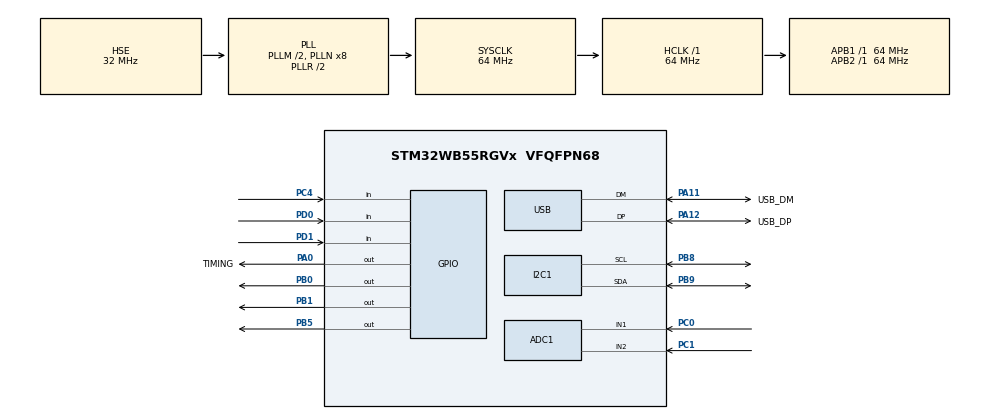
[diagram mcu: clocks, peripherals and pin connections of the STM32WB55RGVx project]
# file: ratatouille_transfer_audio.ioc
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ADC1.Channel-0\#ChannelRegularConversion=ADC_CHANNEL_1
ADC1.Channel-1\#ChannelRegularConversion=ADC_CHANNEL_2
ADC1.ClockPrescaler=ADC_CLOCK_SYNC_PCLK_DIV1
ADC1.ContinuousConvMode=ENABLE
ADC1.DMAContinuousRequests=ENABLE
ADC1.NbrOfConversion=2
ADC1.NbrOfConversionFlag=1
ADC1.OffsetNumber-0\#ChannelRegularConversion=ADC_OFFSET_NONE
ADC1.OffsetNumber-1\#ChannelRegularConversion=ADC_OFFSET_NONE
ADC1.Rank-0\#ChannelRegularConversion=1
ADC1.Rank-1\#ChannelRegularConversion=2
ADC1.SamplingTime-0\#ChannelRegularConversion=ADC_SAMPLETIME_247CYCLES_5
ADC1.SamplingTime-1\#ChannelRegularConversion=ADC_SAMPLETIME_247CYCLES_5
ADC1.master=1
Dma.ADC1.0.Direction=DMA_PERIPH_TO_MEMORY
Dma.ADC1.0.EventEnable=DISABLE
Dma.ADC1.0.Instance=DMA1_Channel1
Dma.ADC1.0.MemDataAlignment=DMA_MDATAALIGN_HALFWORD
Dma.ADC1.0.MemInc=DMA_MINC_ENABLE
Dma.ADC1.0.Mode=DMA_CIRCULAR
Dma.ADC1.0.PeriphDataAlignment=DMA_PDATAALIGN_HALFWORD
Dma.ADC1.0.PeriphInc=DMA_PINC_DISABLE
Dma.ADC1.0.Polarity=HAL_DMAMUX_REQ_GEN_RISING
Dma.ADC1.0.Priority=DMA_PRIORITY_LOW
Dma.ADC1.0.RequestNumber=1
Dma.ADC1.0.SignalID=NONE
Dma.ADC1.0.SyncEnable=DISABLE
Dma.ADC1.0.SyncPolarity=HAL_DMAMUX_SYNC_NO_EVENT
Dma.ADC1.0.SyncRequestNumber=1
Dma.ADC1.0.SyncSignalID=NONE
Dma.Request0=ADC1
I2C1.Timing=0x10B17DB5
Mcu.Family=STM32WB
Mcu.Name=STM32WB55RGVx
Mcu.Package=VFQFPN68
NUCLEO-WB55RG.BUTTON=1
NUCLEO-WB55RG.BUTTON2=1
NUCLEO-WB55RG.BUTTON3=1
NUCLEO-WB55RG.LD1=true
NUCLEO-WB55RG.LD2=true
NUCLEO-WB55RG.LD3=true
NUCLEO-WB55RG.VCP=true
NVIC.ADC1_IRQn=true\:2\:0\:true\:false\:true\:true\:true\:true
NVIC.DMA1_Channel1_IRQn=true\:0\:0\:false\:false\:true\:false\:true\:true
NVIC.EXTI0_IRQn=true\:3\:0\:true\:false\:true\:false\:true\:true
NVIC.EXTI1_IRQn=true\:3\:0\:true\:false\:true\:false\:true\:true
NVIC.EXTI4_IRQn=true\:3\:0\:true\:false\:true\:false\:true\:true
NVIC.I2C1_ER_IRQn=true\:0\:0\:false\:false\:true\:true\:true\:true
NVIC.I2C1_EV_IRQn=true\:0\:0\:false\:false\:true\:true\:true\:true
NVIC.PriorityGroup=NVIC_PRIORITYGROUP_4
NVIC.TIM2_IRQn=true\:0\:0\:false\:false\:true\:true\:true\:true
NVIC.USB_HP_IRQn=true\:0\:0\:false\:false\:true\:true\:true\:true
NVIC.USB_LP_IRQn=true\:0\:0\:false\:false\:true\:true\:true\:true
OSC_IN.GPIO_Label=RCC_OSC_IN
OSC_IN.Mode=HSE-External-Oscillator
OSC_IN.Signal=RCC_OSC_IN
OSC_OUT.GPIO_Label=RCC_OSC_OUT
OSC_OUT.Mode=HSE-External-Oscillator
OSC_OUT.Signal=RCC_OSC_OUT
PA0.GPIO_Label=TIMING
PA0.GPIO_Speed=GPIO_SPEED_FREQ_MEDIUM
PA0.Signal=GPIO_Output
PA11.GPIO_Label=USB_DM
PA11.Mode=Device
PA11.Signal=USB_DM
PA12.GPIO_Label=USB_DP
PA12.Mode=Device
PA12.Signal=USB_DP
PA13.GPIO_Label=JTMS
PA13.Signal=SYS_JTMS-SWDIO
PA14.GPIO_Label=JTCK
PA14.Signal=SYS_JTCK-SWCLK
PB0.Signal=GPIO_Output
PB1.Signal=GPIO_Output
PB3.GPIO_Label=JTDO
PB3.Signal=SYS_JTDO-SWO
PB5.Signal=GPIO_Output
PB6.Signal=USART1_TX
PB7.Signal=USART1_RX
PB8.Mode=I2C
PB8.Signal=I2C1_SCL
PB9.Mode=I2C
PB9.Signal=I2C1_SDA
PC0.Signal=ADCx_IN1
PC1.Signal=ADCx_IN2
PC13.GPIO_Label=SYS_WKUP2
PC13.Signal=SYS_WKUP2
PC14-OSC32_IN.GPIO_Label=RCC_OSC32_IN
PC14-OSC32_IN.Mode=LSE-External-Oscillator
PC14-OSC32_IN.Signal=RCC_OSC32_IN
PC15-OSC32_OUT.GPIO_Label=RCC_OSC32_OUT
PC15-OSC32_OUT.Mode=LSE-External-Oscillator
PC15-OSC32_OUT.Signal=RCC_OSC32_OUT
PC4.Signal=GPIO_Input
PD0.Signal=GPIO_Input
PD1.Signal=GPIO_Input
ProjectManager.HeapSize=0x200
ProjectManager.StackSize=0x400
ProjectManager.TargetToolchain=STM32CubeIDE
RCC.ADCFreq_Value=48000000
RCC.AHB2CLKDivider=RCC_SYSCLK_DIV2
RCC.AHBFreq_Value=64000000
RCC.APB1Freq_Value=64000000
RCC.APB1TimFreq_Value=64000000
RCC.APB2Freq_Value=64000000
RCC.APB2TimFreq_Value=64000000
RCC.APB3Freq_Value=16000000
RCC.Cortex2_Div=SYSTICK_CLKSOURCE_HCLK_DIV8
RCC.CortexFreq_Value=64000000
RCC.HCLKFreq_Value=64000000
RCC.HSE_VALUE=32000000
RCC.HSI48_VALUE=48000000
RCC.HSI_VALUE=16000000
RCC.PLLM=RCC_PLLM_DIV2
RCC.PLLSAI1N=6
RCC.PLLSourceVirtual=RCC_PLLSOURCE_HSE
RCC.SMPSCLockSelection=RCC_SMPSCLKSOURCE_HSI
RCC.SMPSCLockSelectionVirtual=RCC_SMPSCLKSOURCE_HSI
RCC.SMPSCLockSelectionVirtualVirtual=RCC_SMPSCLKSOURCE_HSI
RCC.SMPSDivider=1
RCC.SYSCLKFreq_VALUE=64000000
RCC.SYSCLKSource=RCC_SYSCLKSOURCE_PLLCLK
RCC.USBFreq_Value=48000000
RCC.VCOOutputFreq_Value=128000000
SH.ADCx_IN1.0=ADC1_IN1,IN1-Single-Ended
SH.ADCx_IN2.0=ADC1_IN2,IN2-Single-Ended
TIM2.AutoReloadPreload=TIM_AUTORELOAD_PRELOAD_ENABLE
TIM2.CounterMode=TIM_COUNTERMODE_UP
TIM2.Period=256000-1
TIM2.Prescaler=10
TIM2.TIM_MasterOutputTrigger=TIM_TRGO_UPDATE
USB_DEVICE.CLASS_NAME_FS=CDC
USB_DEVICE.USBD_DEBUG_LEVEL=2
USB_DEVICE.VirtualMode=Cdc
USB_DEVICE.VirtualModeFS=Cdc_FS
VP_MEMORYMAP_VS_MEMORYMAP.Mode=CurAppReg
VP_NUCLEO-WB55RG_VS_BSP_COMMON.Mode=COMMON
VP_TIM2_VS_ClockSourceINT.Mode=Internal
VP_USB_DEVICE_VS_USB_DEVICE_CDC_FS.Mode=CDC_FS
board=NUCLEO-WB55RG

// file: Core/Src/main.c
/* USER CODE BEGIN Header */
/**
  ******************************************************************************
  * @file           : main.c
  * @brief          : Main program body
  ******************************************************************************
  * @attention
  *
  * Copyright (c) 2024 STMicroelectronics.
  * All rights reserved.
  *
  * This software is licensed under terms that can be found in the LICENSE file
  * in the root directory of this software component.
  * If no LICENSE file comes with this software, it is provided AS-IS.
  *
  ******************************************************************************
  */
/* USER CODE END Header */
#include "main.h"
#include "usb_device.h"

/* USER CODE BEGIN Includes */
#include <stdio.h>
#include <stdint.h>
#include <string.h>
#include "usbd_cdc_if.h"
#include "bmi160_wrapper.h"
/* USER CODE END Includes */

/* USER CODE BEGIN PTD */
BMI160_t imu_t;
/* USER CODE END PTD */

COM_InitTypeDef BspCOMInit;
ADC_HandleTypeDef hadc1;
DMA_HandleTypeDef hdma_adc1;

I2C_HandleTypeDef hi2c1;

TIM_HandleTypeDef htim2;

/* USER CODE BEGIN PV */

/* Analog */
uint16_t counter = 0;
uint16_t mic = 0;
uint16_t mic2 = 0;
uint16_t rawValues[2];
/* Analog END */

/* USB */
uint8_t message[] = "USB VCP Test\n";
uint8_t flag = 0;
char msg[50];

uint16_t a = 7;
uint16_t b = 9;
uint8_t USB_buffer[32];
size_t packet_length;
/* USB END */

/* Mouse */
int delay = 5;
int8_t x = 0;
int8_t y = 0;
/* Mouse END */

/* IMU */
float g_f32[3] = {0.0f, 0.0f, 0.0f};
float a_f32[3] = {0.0f, 0.0f, 0.0f};
float g = 9.81f;
/* IMU END */
/* USER CODE END PV */

void SystemClock_Config(void);
void PeriphCommonClock_Config(void);
static void MX_GPIO_Init(void);
static void MX_DMA_Init(void);
static void MX_ADC1_Init(void);
static void MX_TIM2_Init(void);
static void MX_I2C1_Init(void);
/* USER CODE BEGIN PFP */
void prepare_data_packet_both(float g_f32[3], float a_f32[3], uint16_t var1, uint16_t var2, uint8_t *buffer, size_t *length);
void prepare_data_packet_IMU(float g_f32[3], float a_f32[3], uint8_t *buffer, size_t *length);
void prepare_data_packet_audio(uint16_t var1, uint16_t var2, uint8_t *buffer, size_t *length);

/*unused/legacy */
void send_packet_joystick(int8_t x, int8_t y);
void move_square(int delay);
/* USER CODE END PFP */

/* USER CODE BEGIN 0 */
void HAL_TIM_PeriodElapsedCallback(TIM_HandleTypeDef *htim2)
  {
	////this updates the X and Y axes of my joystick
	  for(uint8_t i = 0; i<hadc1.Init.NbrOfConversion; i++){
		  mic = (uint16_t) rawValues[0];
		  mic2 = mic;
	  }
	  flag = 1;
	 ////This allows me to write to the serial monitor similar to the serial monitor on Arduino
	 ////Note STM32CUBEIDE does not have a serial monitor. You will need to download PuTTY to view
	 ////your serial output.
	  /*HAL_GPIO_TogglePin(LED_GREEN_GPIO_Port,LED_GREEN_Pin);
	  sprintf(msg, "X axis: %hu, Y axis: %hu \r\n", Xaxis, Yaxis);
	  status = CDC_Transmit_FS(msg, strlen((char*)msg));
	  if (status == USBD_OK) {
	  	  HAL_GPIO_TogglePin(LED_RED_GPIO_Port,LED_RED_Pin); // Example: Toggle LED on success
	  }*/
  }
/* USER CODE END 0 */

int main(void)
{

  /* MCU Configuration--------------------------------------------------------*/

  /* Reset of all peripherals, Initializes the Flash interface and the Systick. */
  HAL_Init();

  /* Configure the system clock */
  SystemClock_Config();

  /* Configure the peripherals common clocks */
  PeriphCommonClock_Config();

  /* Initialize all configured peripherals */
  MX_GPIO_Init();
  MX_DMA_Init();
  MX_ADC1_Init();
  MX_TIM2_Init();
  MX_USB_Device_Init();
  MX_I2C1_Init();
  /* USER CODE BEGIN 2 */
  ////This begins the process of storing our ADC readings into the DMA. The DMA can be thought of a temporary storage location.
  HAL_ADC_Start_DMA(&hadc1, (uint32_t *) rawValues, 2);
    ////This begins our timer 2
  HAL_TIM_Base_Start_IT(&htim2);

  /* USER CODE END 2 */

  /* Initialize leds */
  BSP_LED_Init(LED_BLUE);
  BSP_LED_Init(LED_GREEN);
  BSP_LED_Init(LED_RED);

  /* Initialize USER push-button, will be used to trigger an interrupt each time it's pressed.*/
  BSP_PB_Init(BUTTON_SW1, BUTTON_MODE_EXTI);
  BSP_PB_Init(BUTTON_SW2, BUTTON_MODE_EXTI);
  BSP_PB_Init(BUTTON_SW3, BUTTON_MODE_EXTI);

  /* Initialize COM1 port (115200, 8 bits (7-bit data + 1 stop bit), no parity */
  BspCOMInit.BaudRate   = 115200;
  BspCOMInit.WordLength = COM_WORDLENGTH_8B;
  BspCOMInit.StopBits   = COM_STOPBITS_1;
  BspCOMInit.Parity     = COM_PARITY_NONE;
  BspCOMInit.HwFlowCtl  = COM_HWCONTROL_NONE;
  if (BSP_COM_Init(COM1, &BspCOMInit) != BSP_ERROR_NONE)
  {
    Error_Handler();
  }

  /* Infinite loop */
  /* USER CODE BEGIN WHILE */
  /*                                                                          ********************************************************************* */
  while (1)
  {
	  //bmi160ReadAccelGyro(&imu_t);

	  if (flag == 1){
		  HAL_GPIO_WritePin(TIMING_GPIO_Port, TIMING_Pin,GPIO_PIN_SET);
		  if (counter == 32000){
			  counter = 0;
		  }
		  else{
			  counter++;
		  }
		  prepare_data_packet_audio(counter, counter,USB_buffer,&packet_length);
		  //prepare_data_packet_audio(mic, mic2,USB_buffer,&packet_length);

		  CDC_Transmit_FS(USB_buffer, packet_length);

		  BSP_LED_Toggle(LED_GREEN);
		  //snprintf(msg, sizeof(msg), "counter: %d \r\n", counter);
		  //CDC_Transmit_FS((uint8_t *)msg, strlen(msg));
		  HAL_GPIO_WritePin(TIMING_GPIO_Port, TIMING_Pin,GPIO_PIN_RESET);

		  flag = 0;
	  }

	  /*HAL_GPIO_TogglePin(LED_GREEN_GPIO_Port,LED_GREEN_Pin);
	  status = CDC_Transmit_FS(message, strlen((char*)message));
	  if (status == USBD_OK) {
	      HAL_GPIO_TogglePin(LED_RED_GPIO_Port,LED_RED_Pin); // Example: Toggle LED on success
	  }
	  HAL_Delay(delay);*/

  /*                                                                          ********************************************************************* */
    /* USER CODE END WHILE */

  }
}

void SystemClock_Config(void)
{
  RCC_OscInitTypeDef RCC_OscInitStruct = {0};
  RCC_ClkInitTypeDef RCC_ClkInitStruct = {0};

  /** Configure the main internal regulator output voltage
  */
  __HAL_PWR_VOLTAGESCALING_CONFIG(PWR_REGULATOR_VOLTAGE_SCALE1);

  /** Initializes the RCC Oscillators according to the specified parameters
  * in the RCC_OscInitTypeDef structure.
  */
  RCC_OscInitStruct.OscillatorType = RCC_OSCILLATORTYPE_HSI|RCC_OSCILLATORTYPE_HSE;
  RCC_OscInitStruct.HSEState = RCC_HSE_ON;
  RCC_OscInitStruct.HSIState = RCC_HSI_ON;
  RCC_OscInitStruct.HSICalibrationValue = RCC_HSICALIBRATION_DEFAULT;
  RCC_OscInitStruct.PLL.PLLState = RCC_PLL_ON;
  RCC_OscInitStruct.PLL.PLLSource = RCC_PLLSOURCE_HSE;
  RCC_OscInitStruct.PLL.PLLM = RCC_PLLM_DIV2;
  RCC_OscInitStruct.PLL.PLLN = 8;
  RCC_OscInitStruct.PLL.PLLP = RCC_PLLP_DIV2;
  RCC_OscInitStruct.PLL.PLLR = RCC_PLLR_DIV2;
  RCC_OscInitStruct.PLL.PLLQ = RCC_PLLQ_DIV2;
  if (HAL_RCC_OscConfig(&RCC_OscInitStruct) != HAL_OK)
  {
    Error_Handler();
  }

  /** Configure the SYSCLKSource, HCLK, PCLK1 and PCLK2 clocks dividers
  */
  RCC_ClkInitStruct.ClockType = RCC_CLOCKTYPE_HCLK4|RCC_CLOCKTYPE_HCLK2
                              |RCC_CLOCKTYPE_HCLK|RCC_CLOCKTYPE_SYSCLK
                              |RCC_CLOCKTYPE_PCLK1|RCC_CLOCKTYPE_PCLK2;
  RCC_ClkInitStruct.SYSCLKSource = RCC_SYSCLKSOURCE_PLLCLK;
  RCC_ClkInitStruct.AHBCLKDivider = RCC_SYSCLK_DIV1;
  RCC_ClkInitStruct.APB1CLKDivider = RCC_HCLK_DIV1;
  RCC_ClkInitStruct.APB2CLKDivider = RCC_HCLK_DIV1;
  RCC_ClkInitStruct.AHBCLK2Divider = RCC_SYSCLK_DIV2;
  RCC_ClkInitStruct.AHBCLK4Divider = RCC_SYSCLK_DIV1;

  if (HAL_RCC_ClockConfig(&RCC_ClkInitStruct, FLASH_LATENCY_3) != HAL_OK)
  {
    Error_Handler();
  }
}

void PeriphCommonClock_Config(void)
{
  RCC_PeriphCLKInitTypeDef PeriphClkInitStruct = {0};

  /** Initializes the peripherals clock
  */
  PeriphClkInitStruct.PeriphClockSelection = RCC_PERIPHCLK_SMPS|RCC_PERIPHCLK_USB
                              |RCC_PERIPHCLK_ADC;
  PeriphClkInitStruct.PLLSAI1.PLLN = 6;
  PeriphClkInitStruct.PLLSAI1.PLLP = RCC_PLLP_DIV2;
  PeriphClkInitStruct.PLLSAI1.PLLQ = RCC_PLLQ_DIV2;
  PeriphClkInitStruct.PLLSAI1.PLLR = RCC_PLLR_DIV2;
  PeriphClkInitStruct.PLLSAI1.PLLSAI1ClockOut = RCC_PLLSAI1_USBCLK|RCC_PLLSAI1_ADCCLK;
  PeriphClkInitStruct.UsbClockSelection = RCC_USBCLKSOURCE_PLLSAI1;
  PeriphClkInitStruct.AdcClockSelection = RCC_ADCCLKSOURCE_PLLSAI1;
  PeriphClkInitStruct.SmpsClockSelection = RCC_SMPSCLKSOURCE_HSI;
  PeriphClkInitStruct.SmpsDivSelection = RCC_SMPSCLKDIV_RANGE0;

  if (HAL_RCCEx_PeriphCLKConfig(&PeriphClkInitStruct) != HAL_OK)
  {
    Error_Handler();
  }
}

static void MX_ADC1_Init(void)
{

  ADC_ChannelConfTypeDef sConfig = {0};

  /** Common config
  */
  hadc1.Instance = ADC1;
  hadc1.Init.ClockPrescaler = ADC_CLOCK_SYNC_PCLK_DIV1;
  hadc1.Init.Resolution = ADC_RESOLUTION_12B;
  hadc1.Init.DataAlign = ADC_DATAALIGN_RIGHT;
  hadc1.Init.ScanConvMode = ADC_SCAN_ENABLE;
  hadc1.Init.EOCSelection = ADC_EOC_SINGLE_CONV;
  hadc1.Init.LowPowerAutoWait = DISABLE;
  hadc1.Init.ContinuousConvMode = ENABLE;
  hadc1.Init.NbrOfConversion = 2;
  hadc1.Init.DiscontinuousConvMode = DISABLE;
  hadc1.Init.ExternalTrigConv = ADC_SOFTWARE_START;
  hadc1.Init.ExternalTrigConvEdge = ADC_EXTERNALTRIGCONVEDGE_NONE;
  hadc1.Init.DMAContinuousRequests = ENABLE;
  hadc1.Init.Overrun = ADC_OVR_DATA_PRESERVED;
  hadc1.Init.OversamplingMode = DISABLE;
  if (HAL_ADC_Init(&hadc1) != HAL_OK)
  {
    Error_Handler();
  }

  /** Configure Regular Channel
  */
  sConfig.Channel = ADC_CHANNEL_1;
  sConfig.Rank = ADC_REGULAR_RANK_1;
  sConfig.SamplingTime = ADC_SAMPLETIME_247CYCLES_5;
  sConfig.SingleDiff = ADC_SINGLE_ENDED;
  sConfig.OffsetNumber = ADC_OFFSET_NONE;
  sConfig.Offset = 0;
  if (HAL_ADC_ConfigChannel(&hadc1, &sConfig) != HAL_OK)
  {
    Error_Handler();
  }

  /** Configure Regular Channel
  */
  sConfig.Channel = ADC_CHANNEL_2;
  sConfig.Rank = ADC_REGULAR_RANK_2;
  if (HAL_ADC_ConfigChannel(&hadc1, &sConfig) != HAL_OK)
  {
    Error_Handler();
  }

}

static void MX_I2C1_Init(void)
{

  hi2c1.Instance = I2C1;
  hi2c1.Init.Timing = 0x10B17DB5;
  hi2c1.Init.OwnAddress1 = 0;
  hi2c1.Init.AddressingMode = I2C_ADDRESSINGMODE_7BIT;
  hi2c1.Init.DualAddressMode = I2C_DUALADDRESS_DISABLE;
  hi2c1.Init.OwnAddress2 = 0;
  hi2c1.Init.OwnAddress2Masks = I2C_OA2_NOMASK;
  hi2c1.Init.GeneralCallMode = I2C_GENERALCALL_DISABLE;
  hi2c1.Init.NoStretchMode = I2C_NOSTRETCH_DISABLE;
  if (HAL_I2C_Init(&hi2c1) != HAL_OK)
  {
    Error_Handler();
  }

  /** Configure Analogue filter
  */
  if (HAL_I2CEx_ConfigAnalogFilter(&hi2c1, I2C_ANALOGFILTER_ENABLE) != HAL_OK)
  {
    Error_Handler();
  }

  /** Configure Digital filter
  */
  if (HAL_I2CEx_ConfigDigitalFilter(&hi2c1, 0) != HAL_OK)
  {
    Error_Handler();
  }

}

static void MX_TIM2_Init(void)
{

  TIM_ClockConfigTypeDef sClockSourceConfig = {0};
  TIM_MasterConfigTypeDef sMasterConfig = {0};

  htim2.Instance = TIM2;
  htim2.Init.Prescaler = 10;
  htim2.Init.CounterMode = TIM_COUNTERMODE_UP;
  htim2.Init.Period = 256000-1;
  htim2.Init.ClockDivision = TIM_CLOCKDIVISION_DIV1;
  htim2.Init.AutoReloadPreload = TIM_AUTORELOAD_PRELOAD_ENABLE;
  if (HAL_TIM_Base_Init(&htim2) != HAL_OK)
  {
    Error_Handler();
  }
  sClockSourceConfig.ClockSource = TIM_CLOCKSOURCE_INTERNAL;
  if (HAL_TIM_ConfigClockSource(&htim2, &sClockSourceConfig) != HAL_OK)
  {
    Error_Handler();
  }
  sMasterConfig.MasterOutputTrigger = TIM_TRGO_UPDATE;
  sMasterConfig.MasterSlaveMode = TIM_MASTERSLAVEMODE_DISABLE;
  if (HAL_TIMEx_MasterConfigSynchronization(&htim2, &sMasterConfig) != HAL_OK)
  {
    Error_Handler();
  }

}

static void MX_DMA_Init(void)
{

  /* DMA controller clock enable */
  __HAL_RCC_DMAMUX1_CLK_ENABLE();
  __HAL_RCC_DMA1_CLK_ENABLE();

  /* DMA interrupt init */
  /* DMA1_Channel1_IRQn interrupt configuration */
  HAL_NVIC_SetPriority(DMA1_Channel1_IRQn, 0, 0);
  HAL_NVIC_EnableIRQ(DMA1_Channel1_IRQn);

}

static void MX_GPIO_Init(void)
{
  GPIO_InitTypeDef GPIO_InitStruct = {0};

  /* GPIO Ports Clock Enable */
  __HAL_RCC_GPIOC_CLK_ENABLE();
  __HAL_RCC_GPIOB_CLK_ENABLE();
  __HAL_RCC_GPIOA_CLK_ENABLE();

  /*Configure GPIO pin Output Level */
  HAL_GPIO_WritePin(TIMING_GPIO_Port, TIMING_Pin, GPIO_PIN_RESET);

  /*Configure GPIO pin : TIMING_Pin */
  GPIO_InitStruct.Pin = TIMING_Pin;
  GPIO_InitStruct.Mode = GPIO_MODE_OUTPUT_PP;
  GPIO_InitStruct.Pull = GPIO_NOPULL;
  GPIO_InitStruct.Speed = GPIO_SPEED_FREQ_MEDIUM;
  HAL_GPIO_Init(TIMING_GPIO_Port, &GPIO_InitStruct);

}

/* USER CODE BEGIN 4 */
void prepare_data_packet_both(float g_f32[3], float a_f32[3], uint16_t var1, uint16_t var2, uint8_t *buffer, size_t *length) {
    // Define the start byte
    buffer[0] = (uint8_t)-128;

    memcpy(&buffer[1], g_f32, sizeof(float) * 3);
    memcpy(&buffer[1 + sizeof(float) * 3], a_f32, sizeof(float) * 3);
    memcpy(&buffer[1 + 2 * sizeof(float) * 3], &var1, sizeof(uint16_t));
    memcpy(&buffer[1 + 2 * sizeof(float) * 3 + sizeof(uint16_t)], &var2, sizeof(uint16_t));
    // Copy the int8_t variables into the buffer
    /*buffer[1 + 2 * sizeof(float) * 3 + sizeof(uint16_t)] = (uint16_t)var1;
    buffer[1 + 2 * sizeof(float) * 3 + sizeof(uint16_t)] = (uint16_t)var2;*/

    // Set the total length of the packet
    *length = 1 + 2 * sizeof(float) * 3 + 2*sizeof(uint16_t);
}
void prepare_data_packet_audio(uint16_t var1, uint16_t var2, uint8_t *buffer, size_t *length) {
    // Define the start byte
    buffer[0] = (uint8_t)-128;
    memcpy(&buffer[1], &var1, sizeof(uint16_t));
    memcpy(&buffer[1 + sizeof(uint16_t)], &var2, sizeof(uint16_t));

    // Set the total length of the packet
    *length = 1 + 2*sizeof(uint16_t);
}
void prepare_data_packet_IMU(float g_f32[3], float a_f32[3], uint8_t *buffer, size_t *length) {
    // Define the start byte
    buffer[0] = (uint8_t)-128;
    memcpy(&buffer[1], g_f32, sizeof(float) * 3);
    memcpy(&buffer[1 + sizeof(float) * 3], a_f32, sizeof(float) * 3);

    // Set the total length of the packet
    *length = 1 + 2 * sizeof(float) * 3;
}
void send_packet_joystick(int8_t value1, int8_t value2) {
    uint8_t packet[3];
    packet[0] = (uint8_t)0x80;             // Start byte (-128 or 0x80 in unsigned)
    packet[1] = (uint8_t)value1;           // First data byte (cast int8_t to uint8_t)
    packet[2] = (uint8_t)value2;           // Second data byte (cast int8_t to uint8_t)
    //packet[3] = (uint8_t)(value1 + value2); // Checksum (optional)

    // Send the packet over USB VCP
    CDC_Transmit_FS(packet, sizeof(packet));
}
void move_square(int delay){
	x = 0;
	y = 15;
	send_packet_joystick(x,y);
	HAL_Delay(delay);

	x = 15;
	y = 0;
	send_packet_joystick(x,y);
	HAL_Delay(delay);

	x = 0;
	y = -15;
	send_packet_joystick(x,y);
	HAL_Delay(delay);

	x = -15;
	y = 0;
	send_packet_joystick(x,y);
	HAL_Delay(delay);
}
/* USER CODE END 4 */

void Error_Handler(void)
{
  __disable_irq();
  while (1)
  {
  }
}
